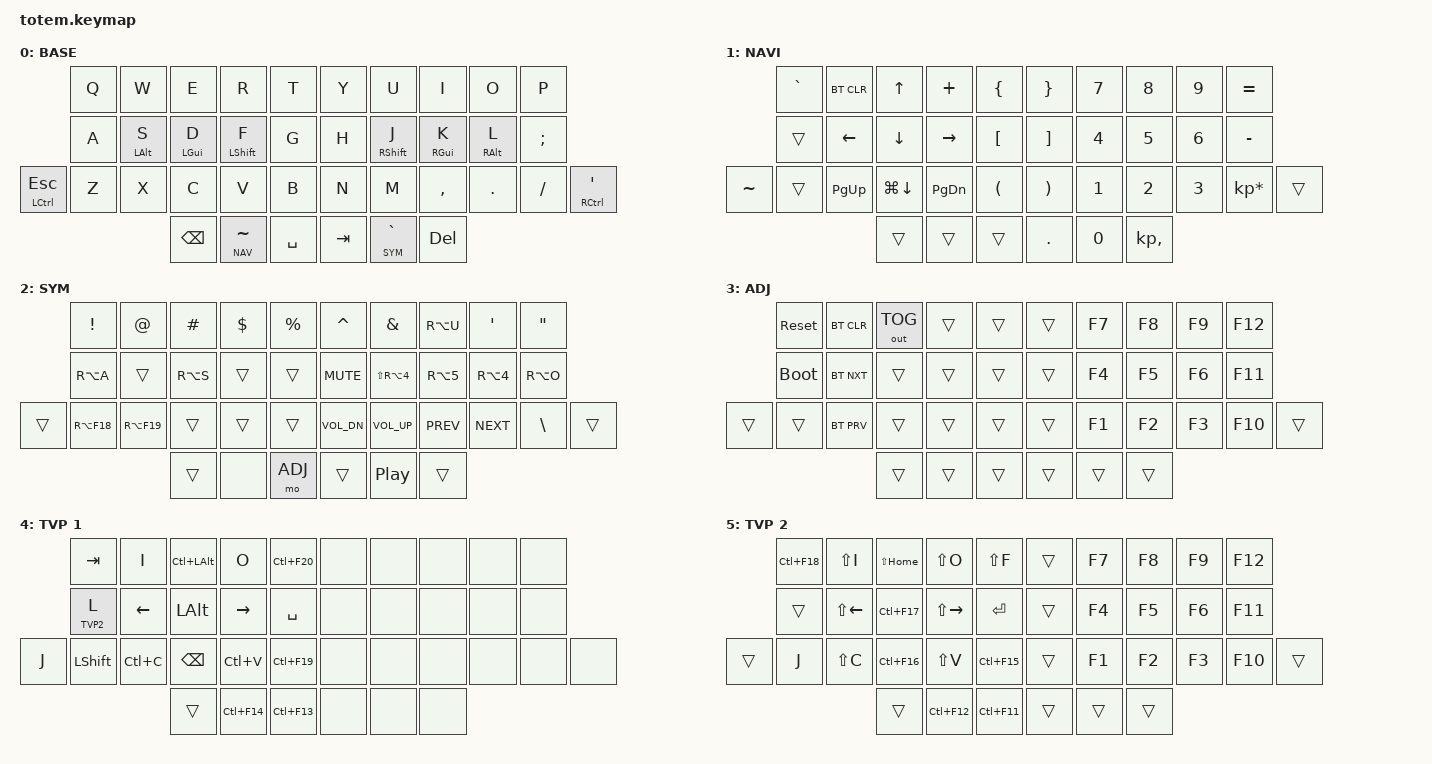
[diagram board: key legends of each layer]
//
//                                                        ▀▀▀▀▀     ▀▀▀▀▀          ▀▀█▀▀
//                                                        ▄▀▀▀▄  ▄  ▄▀▀▀▄  ▄  ▄▀▀▀▄  █  ▄▀▀▀▄
//                                                        █   █  █  █   █  █  █   █  █  █   █
//                                                         ▀▀▀   █   ▀▀▀   █   ▀▀▀   ▀   ▀▀▀
//                                                               █      ▄▄▄█▄▄▄    █   █  
//                                                               ▀      █  █  █     █▄█
//                                                             ▀▀▀▀▀    █  █  █      ▀
//                                                                      ▀  ▀  ▀
//
// ▄▄▄▄▄▄▄▄▄▄▄▄▄▄▄▄▄▄▄▄▄▄▄▄▄▄▄▄▄▄▄▄▄▄▄▄▄▄▄▄▄▄▄▄▄▄▄▄▄▄▄▄▄▄▄▄▄▄▄▄▄▄▄▄▄▄▄▄▄▄▄▄▄▄▄▄▄▄▄▄▄▄▄▄▄▄▄▄▄▄▄▄▄▄▄▄▄▄▄▄▄▄▄▄▄▄▄▄▄▄▄▄▄▄▄▄▄▄▄▄▄▄▄▄▄▄▄▄▄▄▄▄▄▄▄▄▄▄▄▄▄▄▄▄▄▄▄▄▄

#include <behaviors.dtsi>
#include <dt-bindings/zmk/bt.h>
#include <dt-bindings/zmk/keys.h>
#include <dt-bindings/zmk/outputs.h>

#define BASE 0
#define NAV  1
#define SYM  2
#define ADJ  3
#define TVP1 4
#define TVP2 5

&mt {
    quick-tap-ms = <150>;
    global-quick-tap;
    flavor = "tap-preferred";
    tapping-term-ms = <170>;
};

/ {
    combos {
        compatible = "zmk,combos";

        combo_tab_left {
            bindings = <&kp TAB>;
            key-positions = <0 1>;
        };

        combo_tab_right {
            bindings = <&kp TAB>;
            key-positions = <8 9>;
        };

        combo_enter_left {
            bindings = <&kp ENTER>;
            key-positions = <11 12 13>;
        };

        combo_enter_right {
            bindings = <&kp ENTER>;
            key-positions = <16 17 18>;
        };
    };

    behaviors {
        mt_left: mt_left {
            compatible = "zmk,behavior-hold-tap";
            label = "MT_LEFT";
            bindings = <&kp>, <&kp>;

            #binding-cells = <2>;
            tapping-term-ms = <400>;
            quick-tap-ms = <170>;
            require-prior-idle-ms = <50>;
            flavor = "balanced";
            hold-trigger-key-positions = <33 32 34 35 37 36 19 26 27 29 30 31 36 37 5 6 8 9 15 16 17 18 19 26 27 28 29 7>;
            hold-trigger-on-release;
        };

        mt_right: mt_right {
            compatible = "zmk,behavior-hold-tap";
            label = "MT_RIGHT";
            bindings = <&kp>, <&kp>;

            #binding-cells = <2>;
            tapping-term-ms = <400>;
            quick-tap-ms = <170>;
            require-prior-idle-ms = <50>;
            flavor = "balanced";
            hold-trigger-key-positions = <35 36 37 0 1 2 3 4 10 11 12 13 14 20 21 22 23 24 25 32 33 34>;
            hold-trigger-on-release;
        };

        mt_thumb: mt_thumb {
            compatible = "zmk,behavior-hold-tap";
            label = "MT_THUMB";
            bindings = <&kp>, <&kp>;

            #binding-cells = <2>;
            tapping-term-ms = <100>;
            quick-tap-ms = <220>;
            require-prior-idle-ms = <0>;
            flavor = "balanced";
        };

        mt_shift_left: mt_shift_left {
            compatible = "zmk,behavior-hold-tap";
            label = "MT_SHIFT_LEFT";
            bindings = <&kp>, <&kp>;

            #binding-cells = <2>;
            tapping-term-ms = <175>;
            quick-tap-ms = <175>;
            require-prior-idle-ms = <20>;
            flavor = "tap-preferred";
            hold-trigger-key-positions = <32 33 34 35 36 37 5 6 7 8 9 15 16 17 18 19 26 27 28 29 30 31 35 36 37>;
        };

        mt_shift_right: mt_shift_right {
            compatible = "zmk,behavior-hold-tap";
            label = "MT_SHIFT_RIGHT";
            bindings = <&kp>, <&kp>;

            #binding-cells = <2>;
            tapping-term-ms = <175>;
            quick-tap-ms = <175>;
            require-prior-idle-ms = <20>;
            flavor = "tap-preferred";
            hold-trigger-key-positions = <35 36 37 0 1 2 3 4 10 11 12 13 14 20 21 22 23 24 25 32 33 34>;
        };

        hold_sticky: hold_sticky {
            compatible = "zmk,behavior-hold-tap";
            label = "HOLD_STICKY";
            bindings = <&kp>, <&kp>;

            #binding-cells = <2>;
            tapping-term-ms = <150>;
            quick-tap-ms = <220>;
        };

        mt_all: mt_all {
            compatible = "zmk,behavior-hold-tap";
            label = "MT_ALL";
            bindings = <&kp>, <&kp>;

            #binding-cells = <2>;
            tapping-term-ms = <175>;
            quick-tap-ms = <175>;
            require-prior-idle-ms = <35>;
            flavor = "balanced";
            hold-trigger-on-release;
        };
    };

    keymap {
        compatible = "zmk,keymap";

        // ▄▄▄▄▄▄▄▄▄▄▄▄▄▄▄▄▄▄▄▄▄▄▄▄▄▄▄▄▄▄▄▄▄▄▄▄▄▄▄▄▄▄▄▄▄▄▄▄▄▄▄▄▄▄▄▄▄▄▄▄▄▄▄▄▄▄▄▄▄▄▄▄▄▄▄▄▄▄▄▄▄▄▄▄▄▄▄▄▄▄▄▄▄▄▄▄▄▄▄▄▄▄▄▄▄▄▄▄▄▄▄▄▄▄▄▄▄▄▄▄▄▄▄▄▄▄▄▄▄▄▄▄▄▄▄▄▄▄▄▄▄▄▄▄▄▄▄▄▄

        base_layer {
            // ┏━━━━━━━━━━━━━━━━━━━━━━━━━━━━━━━━━━━━━━━┓

            label = "BASE";

            // ┗━━━━━━━━━━━━━━━━━━━━━━━━━━━━━━━━━━━━━━━┛
            //             ┏━━━━━━━━━━━┳━━━━━━━━━━━┳━━━━━━━━━━━┳━━━━━━━━━━━┳━━━━━━━━━━━┓   ┏━━━━━━━━━━━┳━━━━━━━━━━━┳━━━━━━━━━━━┳━━━━━━━━━━━┳━━━━━━━━━━━┓
            //             ┃     Q     ┃     W     ┃     F     ┃     P     ┃     G     ┃   ┃     J     ┃     L     ┃     U     ┃     Y     ┃     ;     ┃
            //             ┣━━━━━━━━━━━╋━━━━━━━━━━━╋━━━━━━━━━━━╋━━━━━━━━━━━╋━━━━━━━━━━━┫   ┣━━━━━━━━━━━╋━━━━━━━━━━━╋━━━━━━━━━━━╋━━━━━━━━━━━╋━━━━━━━━━━━┫
            //             ┃     A     ┃     R     ┃     S     ┃     T     ┃     D     ┃   ┃     H     ┃     N     ┃     E     ┃     I     ┃     O     ┃
            // ┏━━━━━━━━━━━╋━━━━━━━━━━━╋━━━━━━━━━━━╋━━━━━━━━━━━╋━━━━━━━━━━━╋━━━━━━━━━━━┫   ┣━━━━━━━━━━━╋━━━━━━━━━━━╋━━━━━━━━━━━╋━━━━━━━━━━━╋━━━━━━━━━━━╋━━━━━━━━━━━┓
            // ┃     Q     ┃     Z     ┃     X     ┃     C     ┃     V     ┃     B     ┃   ┃     K     ┃     M     ┃     ,     ┃     .     ┃     /     ┃     \     ┃
            // ┗━━━━━━━━━━━┻━━━━━━━━━━━┻━━━━━━━━━━━╋━━━━━━━━━━━╋━━━━━━━━━━━╋━━━━━━━━━━━┫   ┣━━━━━━━━━━━╋━━━━━━━━━━━╋━━━━━━━━━━━╋━━━━━━━━━━━┻━━━━━━━━━━━┻━━━━━━━━━━━┛
            //                                     ┃    DEL    ┃    TAB    ┃    SPC    ┃   ┃   ENTER   ┃           ┃   BSPC    ┃
            //                                     ┗━━━━━━━━━━━┻━━━━━━━━━━━┻━━━━━━━━━━━┛   ┗━━━━━━━━━━━┻━━━━━━━━━━━┻━━━━━━━━━━━┛

            bindings = <
                             &kp Q  &kp W                  &kp E            &kp R                    &kp T        &kp Y    &kp U                          &kp I             &kp O                   &kp P
                             &kp A  &mt_shift_left LALT S  &mt_left LGUI D  &mt_shift_left LSHIFT F  &kp G        &kp H    &mt_shift_right RIGHT_SHIFT J  &mt_right RGUI K  &mt_shift_right RALT L  &kp SEMICOLON
&mt_all LEFT_CONTROL ESCAPE  &kp Z  &kp X                  &kp C            &kp V                    &kp B        &kp N    &kp M                          &kp COMMA         &kp DOT                 &kp FSLH       &mt_all RCTRL SQT
                                                           &kp BACKSPACE    &lt NAV TILDE            &kp SPACE    &kp TAB  &lt SYM GRAVE                  &kp DELETE
            >;
        };

        // ▄▄▄▄▄▄▄▄▄▄▄▄▄▄▄▄▄▄▄▄▄▄▄▄▄▄▄▄▄▄▄▄▄▄▄▄▄▄▄▄▄▄▄▄▄▄▄▄▄▄▄▄▄▄▄▄▄▄▄▄▄▄▄▄▄▄▄▄▄▄▄▄▄▄▄▄▄▄▄▄▄▄▄▄▄▄▄▄▄▄▄▄▄▄▄▄▄▄▄▄▄▄▄▄▄▄▄▄▄▄▄▄▄▄▄▄▄▄▄▄▄▄▄▄▄▄▄▄▄▄▄▄▄▄▄▄▄▄▄▄▄▄▄▄▄▄▄▄▄

        nav_layer {
            // ┏━━━━━━━━━━━━━━━━━━━━━━━━━━━━━━━━━━━━━━━┓

            label = "NAVI";

            // ┗━━━━━━━━━━━━━━━━━━━━━━━━━━━━━━━━━━━━━━━┛
            //             ┏━━━━━━━━━━━┳━━━━━━━━━━━┳━━━━━━━━━━━┳━━━━━━━━━━━┳━━━━━━━━━━━┓   ┏━━━━━━━━━━━┳━━━━━━━━━━━┳━━━━━━━━━━━┳━━━━━━━━━━━┳━━━━━━━━━━━┓
            //             ┃           ┃           ┃     UP    ┃           ┃     {     ┃   ┃     }     ┃     7     ┃     8     ┃     9     ┃     +     ┃
            //             ┣━━━━━━━━━━━╋━━━━━━━━━━━╋━━━━━━━━━━━╋━━━━━━━━━━━╋━━━━━━━━━━━┫   ┣━━━━━━━━━━━╋━━━━━━━━━━━╋━━━━━━━━━━━╋━━━━━━━━━━━╋━━━━━━━━━━━┫
            //             ┃   SHIFT   ┃   LEFT    ┃    DOWN   ┃   RIGHT   ┃     [     ┃   ┃     ]     ┃     4     ┃     5     ┃     6     ┃     -     ┃
            // ┏━━━━━━━━━━━╋━━━━━━━━━━━╋━━━━━━━━━━━╋━━━━━━━━━━━╋━━━━━━━━━━━╋━━━━━━━━━━━┫   ┣━━━━━━━━━━━╋━━━━━━━━━━━╋━━━━━━━━━━━╋━━━━━━━━━━━╋━━━━━━━━━━━╋━━━━━━━━━━━┓
            // ┃           ┃           ┃   P UP    ┃  C LOCK   ┃  P DOWN   ┃     (     ┃   ┃     )     ┃     1     ┃     2     ┃     3     ┃     *     ┃           ┃
            // ┗━━━━━━━━━━━┻━━━━━━━━━━━┻━━━━━━━━━━━╋━━━━━━━━━━━╋━━━━━━━━━━━╋━━━━━━━━━━━┫   ┣━━━━━━━━━━━╋━━━━━━━━━━━╋━━━━━━━━━━━╋━━━━━━━━━━━┻━━━━━━━━━━━┻━━━━━━━━━━━┛
            //                                     ┃           ┃    TAB    ┃    SPC    ┃   ┃    DEL    ┃     0     ┃           ┃
            //                                     ┗━━━━━━━━━━━┻━━━━━━━━━━━┻━━━━━━━━━━━┛   ┗━━━━━━━━━━━┻━━━━━━━━━━━┻━━━━━━━━━━━┛

            bindings = <
           &kp GRAVE  &bt BT_CLR  &kp UP        &kp PLUS   &kp LBRC    &kp RBRC    &kp N7        &kp N8        &kp N9        &kp EQUAL
           &trans     &kp LEFT    &kp DOWN      &kp RIGHT  &kp LBKT    &kp RBKT    &kp NUMBER_4  &kp N5        &kp NUMBER_6  &kp MINUS
&kp TILDE  &trans     &kp PG_UP   &kp LG(DOWN)  &kp PG_DN  &kp LPAR    &kp RPAR    &kp NUMBER_1  &kp NUMBER_2  &kp NUMBER_3  &kp KP_MULTIPLY  &trans
                                  &trans        &trans     &trans      &kp PERIOD  &kp N0        &kp KP_COMMA
            >;
        };

        // ▄▄▄▄▄▄▄▄▄▄▄▄▄▄▄▄▄▄▄▄▄▄▄▄▄▄▄▄▄▄▄▄▄▄▄▄▄▄▄▄▄▄▄▄▄▄▄▄▄▄▄▄▄▄▄▄▄▄▄▄▄▄▄▄▄▄▄▄▄▄▄▄▄▄▄▄▄▄▄▄▄▄▄▄▄▄▄▄▄▄▄▄▄▄▄▄▄▄▄▄▄▄▄▄▄▄▄▄▄▄▄▄▄▄▄▄▄▄▄▄▄▄▄▄▄▄▄▄▄▄▄▄▄▄▄▄▄▄▄▄▄▄▄▄▄▄▄▄▄

        sim_layer {
            // ┏━━━━━━━━━━━━━━━━━━━━━━━━━━━━━━━━━━━━━━━┓

            label = "SYM";

            // ┗━━━━━━━━━━━━━━━━━━━━━━━━━━━━━━━━━━━━━━━┛
            //             ┏━━━━━━━━━━━┳━━━━━━━━━━━┳━━━━━━━━━━━┳━━━━━━━━━━━┳━━━━━━━━━━━┓   ┏━━━━━━━━━━━┳━━━━━━━━━━━┳━━━━━━━━━━━┳━━━━━━━━━━━┳━━━━━━━━━━━┓
            //             ┃     !     ┃     @     ┃     #     ┃     $     ┃     %     ┃   ┃     ˆ     ┃     &     ┃     Ü     ┃     '     ┃     "     ┃
            //             ┣━━━━━━━━━━━╋━━━━━━━━━━━╋━━━━━━━━━━━╋━━━━━━━━━━━╋━━━━━━━━━━━┫   ┣━━━━━━━━━━━╋━━━━━━━━━━━╋━━━━━━━━━━━╋━━━━━━━━━━━╋━━━━━━━━━━━┫
            //             ┃     Ä     ┃           ┃    SZ     ┃           ┃           ┃   ┃   MUTE    ┃   YEN     ┃   EURO    ┃  POUND    ┃     Ö     ┃
            // ┏━━━━━━━━━━━╋━━━━━━━━━━━╋━━━━━━━━━━━╋━━━━━━━━━━━╋━━━━━━━━━━━╋━━━━━━━━━━━┫   ┣━━━━━━━━━━━╋━━━━━━━━━━━╋━━━━━━━━━━━╋━━━━━━━━━━━╋━━━━━━━━━━━╋━━━━━━━━━━━┓
            // ┃           ┃  EMAIL1   ┃  EMAIL2   ┃           ┃           ┃           ┃   ┃   VOL-    ┃   VOL+    ┃   LAST    ┃   NEXT    ┃     \     ┃           ┃
            // ┗━━━━━━━━━━━┻━━━━━━━━━━━┻━━━━━━━━━━━╋━━━━━━━━━━━╋━━━━━━━━━━━╋━━━━━━━━━━━┫   ┣━━━━━━━━━━━╋━━━━━━━━━━━╋━━━━━━━━━━━╋━━━━━━━━━━━┻━━━━━━━━━━━┻━━━━━━━━━━━┛
            //                                     ┃           ┃    GIF    ┃    ADJ    ┃   ┃           ┃           ┃           ┃
            //                                     ┗━━━━━━━━━━━┻━━━━━━━━━━━┻━━━━━━━━━━━┛   ┗━━━━━━━━━━━┻━━━━━━━━━━━┻━━━━━━━━━━━┛

            bindings = <
        &kp EXCL     &kp AT       &kp HASH   &kp DLLR  &kp PRCNT    &kp CARET     &kp AMPS        &kp RA(U)   &kp SQT     &kp DQT
        &kp RA(A)    &trans       &kp RA(S)  &trans    &trans       &kp C_MUTE    &kp LS(RA(N4))  &kp RA(N5)  &kp RA(N4)  &kp RA(O)
&trans  &kp RA(F18)  &kp RA(F19)  &trans     &trans    &trans       &kp C_VOL_DN  &kp C_VOL_UP    &kp C_PREV  &kp C_NEXT  &kp BSLH   &trans
                                  &trans     &none     &mo ADJ      &trans        &kp C_PP        &trans
            >;
        };

        // ▄▄▄▄▄▄▄▄▄▄▄▄▄▄▄▄▄▄▄▄▄▄▄▄▄▄▄▄▄▄▄▄▄▄▄▄▄▄▄▄▄▄▄▄▄▄▄▄▄▄▄▄▄▄▄▄▄▄▄▄▄▄▄▄▄▄▄▄▄▄▄▄▄▄▄▄▄▄▄▄▄▄▄▄▄▄▄▄▄▄▄▄▄▄▄▄▄▄▄▄▄▄▄▄▄▄▄▄▄▄▄▄▄▄▄▄▄▄▄▄▄▄▄▄▄▄▄▄▄▄▄▄▄▄▄▄▄▄▄▄▄▄▄▄▄▄▄▄▄

        adjust_layer {
            // ┏━━━━━━━━━━━━━━━━━━━━━━━━━━━━━━━━━━━━━━━┓

            label = "ADJ";

            // ┗━━━━━━━━━━━━━━━━━━━━━━━━━━━━━━━━━━━━━━━┛
            //             ┏━━━━━━━━━━━┳━━━━━━━━━━━┳━━━━━━━━━━━┳━━━━━━━━━━━┳━━━━━━━━━━━┓   ┏━━━━━━━━━━━┳━━━━━━━━━━━┳━━━━━━━━━━━┳━━━━━━━━━━━┳━━━━━━━━━━━┓
            //             ┃   RESET   ┃ BT CLEAR  ┃  OUT TOG  ┃           ┃           ┃   ┃           ┃    F7     ┃    F8     ┃    F9     ┃    F12    ┃
            //             ┣━━━━━━━━━━━╋━━━━━━━━━━━╋━━━━━━━━━━━╋━━━━━━━━━━━╋━━━━━━━━━━━┫   ┣━━━━━━━━━━━╋━━━━━━━━━━━╋━━━━━━━━━━━╋━━━━━━━━━━━╋━━━━━━━━━━━┫
            //             ┃ BOOTLOAD  ┃ BT NEXT   ┃           ┃           ┃           ┃   ┃           ┃    F4     ┃    F5     ┃    F6     ┃    F11    ┃
            // ┏━━━━━━━━━━━╋━━━━━━━━━━━╋━━━━━━━━━━━╋━━━━━━━━━━━╋━━━━━━━━━━━╋━━━━━━━━━━━┫   ┣━━━━━━━━━━━╋━━━━━━━━━━━╋━━━━━━━━━━━╋━━━━━━━━━━━╋━━━━━━━━━━━╋━━━━━━━━━━━┓
            // ┃           ┃           ┃ BT PREV   ┃           ┃           ┃           ┃   ┃           ┃    F1     ┃    F2     ┃    F3     ┃    F10    ┃           ┃
            // ┗━━━━━━━━━━━┻━━━━━━━━━━━┻━━━━━━━━━━━╋━━━━━━━━━━━╋━━━━━━━━━━━╋━━━━━━━━━━━┫   ┣━━━━━━━━━━━╋━━━━━━━━━━━╋━━━━━━━━━━━╋━━━━━━━━━━━┻━━━━━━━━━━━┻━━━━━━━━━━━┛
            //                                     ┃           ┃           ┃           ┃   ┃           ┃           ┃           ┃
            //                                     ┗━━━━━━━━━━━┻━━━━━━━━━━━┻━━━━━━━━━━━┛   ┗━━━━━━━━━━━┻━━━━━━━━━━━┻━━━━━━━━━━━┛

            bindings = <
        &sys_reset   &bt BT_CLR  &out OUT_TOG  &trans  &trans    &trans  &kp F7  &kp F8  &kp F9  &kp F12
        &bootloader  &bt BT_NXT  &trans        &trans  &trans    &trans  &kp F4  &kp F5  &kp F6  &kp F11
&trans  &trans       &bt BT_PRV  &trans        &trans  &trans    &trans  &kp F1  &kp F2  &kp F3  &kp F10  &trans
                                 &trans        &trans  &trans    &trans  &trans  &trans
            >;
        };

        // ▄▄▄▄▄▄▄▄▄▄▄▄▄▄▄▄▄▄▄▄▄▄▄▄▄▄▄▄▄▄▄▄▄▄▄▄▄▄▄▄▄▄▄▄▄▄▄▄▄▄▄▄▄▄▄▄▄▄▄▄▄▄▄▄▄▄▄▄▄▄▄▄▄▄▄▄▄▄▄▄▄▄▄▄▄▄▄▄▄▄▄▄▄▄▄▄▄▄▄▄▄▄▄▄▄▄▄▄▄▄▄▄▄▄▄▄▄▄▄▄▄▄▄▄▄▄▄▄▄▄▄▄▄▄▄▄▄▄▄▄▄▄▄▄▄▄▄▄▄

        tvp1_layer {
            // ┏━━━━━━━━━━━━━━━━━━━━━━━━━━━━━━━━━━━━━━━┓

            label = "TVP 1";

            // ┗━━━━━━━━━━━━━━━━━━━━━━━━━━━━━━━━━━━━━━━┛
            //             ┏━━━━━━━━━━━┳━━━━━━━━━━━┳━━━━━━━━━━━┳━━━━━━━━━━━┳━━━━━━━━━━━┓   ┏━━━━━━━━━━━┳━━━━━━━━━━━┳━━━━━━━━━━━┳━━━━━━━━━━━┳━━━━━━━━━━━┓
            //             ┃ NEXT FILE ┃ MARK IN   ┃ ROTATE    ┃ MARK OUT  ┃ SHOW SNAP ┃   ┃           ┃           ┃           ┃           ┃           ┃
            //             ┣━━━━━━━━━━━╋━━━━━━━━━━━╋━━━━━━━━━━━╋━━━━━━━━━━━╋━━━━━━━━━━━┫   ┣━━━━━━━━━━━╋━━━━━━━━━━━╋━━━━━━━━━━━╋━━━━━━━━━━━╋━━━━━━━━━━━┫
            //             ┃ TVP II    ┃ LEFT      ┃ PAN       ┃ RIGHT     ┃ PLAY/FLIP ┃   ┃           ┃           ┃           ┃           ┃           ┃
            // ┏━━━━━━━━━━━╋━━━━━━━━━━━╋━━━━━━━━━━━╋━━━━━━━━━━━╋━━━━━━━━━━━╋━━━━━━━━━━━┫   ┣━━━━━━━━━━━╋━━━━━━━━━━━╋━━━━━━━━━━━╋━━━━━━━━━━━╋━━━━━━━━━━━╋━━━━━━━━━━━┓
            // ┃ FULLSCR   ┃ SHIFT     ┃ COPY      ┃ DELETE    ┃ PASTE     ┃ IMG MARK  ┃   ┃           ┃           ┃           ┃           ┃           ┃           ┃
            // ┗━━━━━━━━━━━┻━━━━━━━━━━━┻━━━━━━━━━━━╋━━━━━━━━━━━╋━━━━━━━━━━━╋━━━━━━━━━━━┫   ┣━━━━━━━━━━━╋━━━━━━━━━━━╋━━━━━━━━━━━╋━━━━━━━━━━━┻━━━━━━━━━━━┻━━━━━━━━━━━┛
            //                                     ┃           ┃ UNDO/SAVE ┃  SEL/MOV  ┃   ┃           ┃           ┃           ┃
            //                                     ┗━━━━━━━━━━━┻━━━━━━━━━━━┻━━━━━━━━━━━┛   ┗━━━━━━━━━━━┻━━━━━━━━━━━┻━━━━━━━━━━━┛

            bindings = <
       &kp TAB     &kp I      &kp LC(LALT)  &kp O        &kp LC(F20)    &none  &none  &none  &none  &none
       &lt TVP2 L  &kp LEFT   &kp LALT      &kp RIGHT    &kp SPACE      &none  &none  &none  &none  &none
&kp J  &kp LSHFT   &kp LC(C)  &kp BSPC      &kp LC(V)    &kp LC(F19)    &none  &none  &none  &none  &none  &none
                              &trans        &kp LC(F14)  &kp LC(F13)    &none  &none  &none
            >;
        };

        // ▄▄▄▄▄▄▄▄▄▄▄▄▄▄▄▄▄▄▄▄▄▄▄▄▄▄▄▄▄▄▄▄▄▄▄▄▄▄▄▄▄▄▄▄▄▄▄▄▄▄▄▄▄▄▄▄▄▄▄▄▄▄▄▄▄▄▄▄▄▄▄▄▄▄▄▄▄▄▄▄▄▄▄▄▄▄▄▄▄▄▄▄▄▄▄▄▄▄▄▄▄▄▄▄▄▄▄▄▄▄▄▄▄▄▄▄▄▄▄▄▄▄▄▄▄▄▄▄▄▄▄▄▄▄▄▄▄▄▄▄▄▄▄▄▄▄▄▄▄

        tvp2_layer {
            // ┏━━━━━━━━━━━━━━━━━━━━━━━━━━━━━━━━━━━━━━━┓

            label = "TVP 2";

            // ┗━━━━━━━━━━━━━━━━━━━━━━━━━━━━━━━━━━━━━━━┛
            //             ┏━━━━━━━━━━━┳━━━━━━━━━━━┳━━━━━━━━━━━┳━━━━━━━━━━━┳━━━━━━━━━━━┓   ┏━━━━━━━━━━━┳━━━━━━━━━━━┳━━━━━━━━━━━┳━━━━━━━━━━━┳━━━━━━━━━━━┓
            //             ┃ SOLO      ┃ TOGGLE IN ┃ RESET ROT ┃ TOGGLE OUT┃ TAKE SNAP ┃   ┃           ┃           ┃           ┃           ┃           ┃
            //             ┣━━━━━━━━━━━╋━━━━━━━━━━━╋━━━━━━━━━━━╋━━━━━━━━━━━╋━━━━━━━━━━━┫   ┣━━━━━━━━━━━╋━━━━━━━━━━━╋━━━━━━━━━━━╋━━━━━━━━━━━╋━━━━━━━━━━━┫
            //             ┃ ---       ┃ LAST KEY  ┃ NEW KEY   ┃ NEXT KEY  ┃ ENTER     ┃   ┃           ┃           ┃           ┃           ┃           ┃
            // ┏━━━━━━━━━━━╋━━━━━━━━━━━╋━━━━━━━━━━━╋━━━━━━━━━━━╋━━━━━━━━━━━╋━━━━━━━━━━━┫   ┣━━━━━━━━━━━╋━━━━━━━━━━━╋━━━━━━━━━━━╋━━━━━━━━━━━╋━━━━━━━━━━━╋━━━━━━━━━━━┓
            // ┃           ┃ FULLSCR   ┃ CPY2BRUSH ┃ DEL HEAD  ┃ PSTinPLACE┃ BOOK MARK ┃   ┃           ┃           ┃           ┃           ┃           ┃           ┃
            // ┗━━━━━━━━━━━┻━━━━━━━━━━━┻━━━━━━━━━━━╋━━━━━━━━━━━╋━━━━━━━━━━━╋━━━━━━━━━━━┫   ┣━━━━━━━━━━━╋━━━━━━━━━━━╋━━━━━━━━━━━╋━━━━━━━━━━━┻━━━━━━━━━━━┻━━━━━━━━━━━┛
            //                                     ┃           ┃ REDO/SAV1 ┃TRANS/WARP ┃   ┃           ┃           ┃           ┃
            //                                     ┗━━━━━━━━━━━┻━━━━━━━━━━━┻━━━━━━━━━━━┛   ┗━━━━━━━━━━━┻━━━━━━━━━━━┻━━━━━━━━━━━┛

            bindings = <
        &kp LC(F18)  &kp LS(I)     &kp LS(HOME)  &kp LS(O)      &kp LS(F)      &trans  &kp F7  &kp F8  &kp F9  &kp F12
        &trans       &kp LS(LEFT)  &kp LC(F17)   &kp LS(RIGHT)  &kp RET        &trans  &kp F4  &kp F5  &kp F6  &kp F11
&trans  &kp J        &kp LS(C)     &kp LC(F16)   &kp LS(V)      &kp LC(F15)    &trans  &kp F1  &kp F2  &kp F3  &kp F10  &trans
                                   &trans        &kp LC(F12)    &kp LC(F11)    &trans  &trans  &trans
            >;
        };
    };
};
